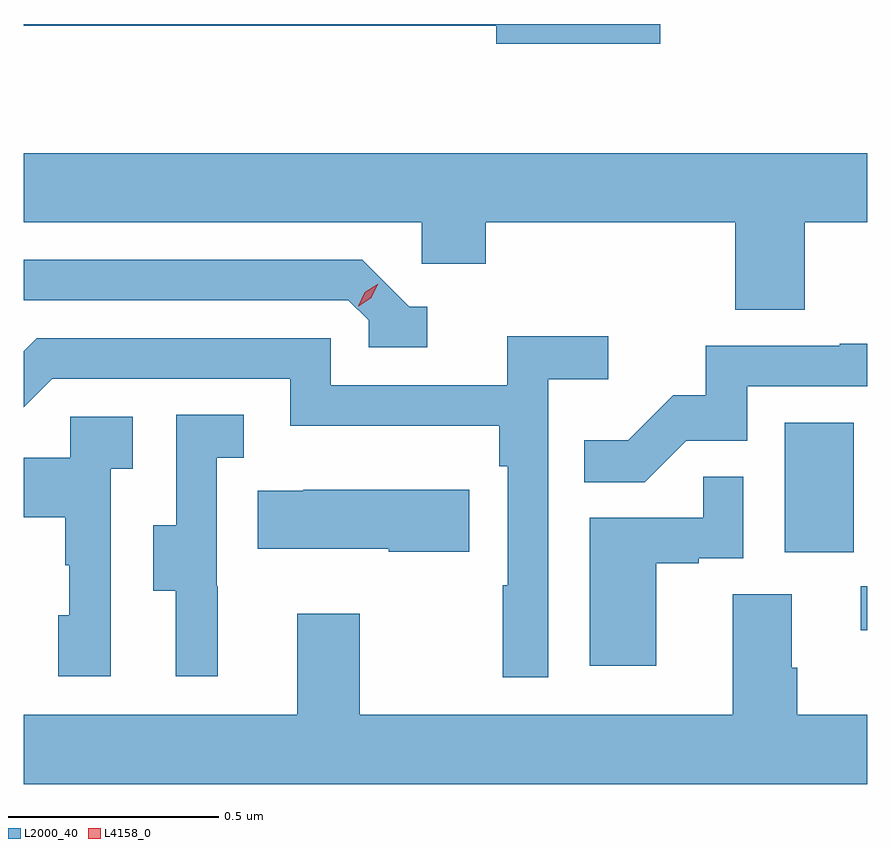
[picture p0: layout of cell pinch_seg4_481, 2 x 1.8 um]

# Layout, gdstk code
import gdstk
lib = gdstk.Library(unit=1e-6, precision=1e-09)
def R(c, l, rs):  # rectangles x0, y0, x1, y1
    for r in rs: c.add(gdstk.rectangle(r[:2], r[2:], *l))
def P(c, l, *ps):  # polygons
    for p in ps: c.add(gdstk.Polygon(p, *l))
L2000_40 = (2000, 40)
L4158_0 = (4158, 0)

pinch_seg4_481 = lib.new_cell('pinch_seg4_481')
R(pinch_seg4_481, L2000_40, [(930.777,763.884,930.792,763.989), (930.596,764.07,930.76,764.377)])
P(pinch_seg4_481, L2000_40, [(930.301,765.322),(928.792,765.322),(928.792,765.318),(929.912,765.318),(929.912,765.275),(930.301,765.275)],
  [(930.644,764.852),(930.792,764.852),(930.792,765.016),(928.792,765.016),(928.792,764.852),(929.736,764.852),(929.736,764.754),(929.888,764.754),(929.888,764.852),(930.479,764.852),(930.479,764.644),(930.644,764.644)],
  [(929.749,764.652),(929.706,764.652),(929.595,764.763),(928.792,764.763),(928.792,764.667),(929.562,764.667),(929.61,764.619),(929.61,764.556),(929.749,764.556)],
  [(930.036,764.48),(930.178,764.48),(930.178,764.582),(929.939,764.582),(929.939,764.466),(929.52,764.466),(929.52,764.577),(928.823,764.577),(928.792,764.546),(928.792,764.413),(928.86,764.481),(929.424,764.481),(929.424,764.369),(929.92,764.369),(929.92,764.273),(929.94,764.273),(929.94,763.991),(929.928,763.991),(929.928,763.773),(930.036,763.773)],
  [(930.363,764.334),(930.507,764.334),(930.507,764.463),(930.792,764.463),(930.792,764.564),(930.727,764.564),(930.727,764.559),(930.409,764.559),(930.409,764.442),(930.332,764.442),(930.225,764.335),(930.121,764.335),(930.121,764.236),(930.265,764.236)],
  [(929.252,763.989),(929.25,763.989),(929.25,764.293),(929.314,764.293),(929.314,764.396),(929.154,764.396),(929.154,764.133),(929.099,764.133),(929.099,763.978),(929.153,763.978),(929.153,763.776),(929.252,763.776)],
  [(928.998,764.267),(929.05,764.267),(929.05,764.391),(928.902,764.391),(928.902,764.293),(928.792,764.293),(928.792,764.153),(928.89,764.153),(928.89,764.039),(928.9,764.039),(928.9,763.92),(928.874,763.92),(928.874,763.776),(928.998,763.776)],
  [(930.292,764.043),(930.392,764.043),(930.392,764.055),(930.498,764.055),(930.498,764.249),(930.403,764.249),(930.403,764.151),(930.134,764.151),(930.134,763.8),(930.292,763.8)],
  [(929.848,764.218),(929.455,764.218),(929.455,764.215),(929.347,764.215),(929.347,764.078),(929.657,764.078),(929.657,764.071),(929.848,764.071)],
  [(930.792,763.684),(930.626,763.684),(930.626,763.796),(930.613,763.796),(930.613,763.97),(930.473,763.97),(930.473,763.684),(929.589,763.684),(929.589,763.924),(929.441,763.924),(929.441,763.684),(928.792,763.684),(928.792,763.52),(930.792,763.52)])
P(pinch_seg4_481, L4158_0, [(929.585,764.653),(929.585,764.653),(929.601,764.686),(929.632,764.706),(929.632,764.706),(929.632,764.706),(929.616,764.673),(929.586,764.653)])

lib.write_gds('pinch_seg4_481.gds')
